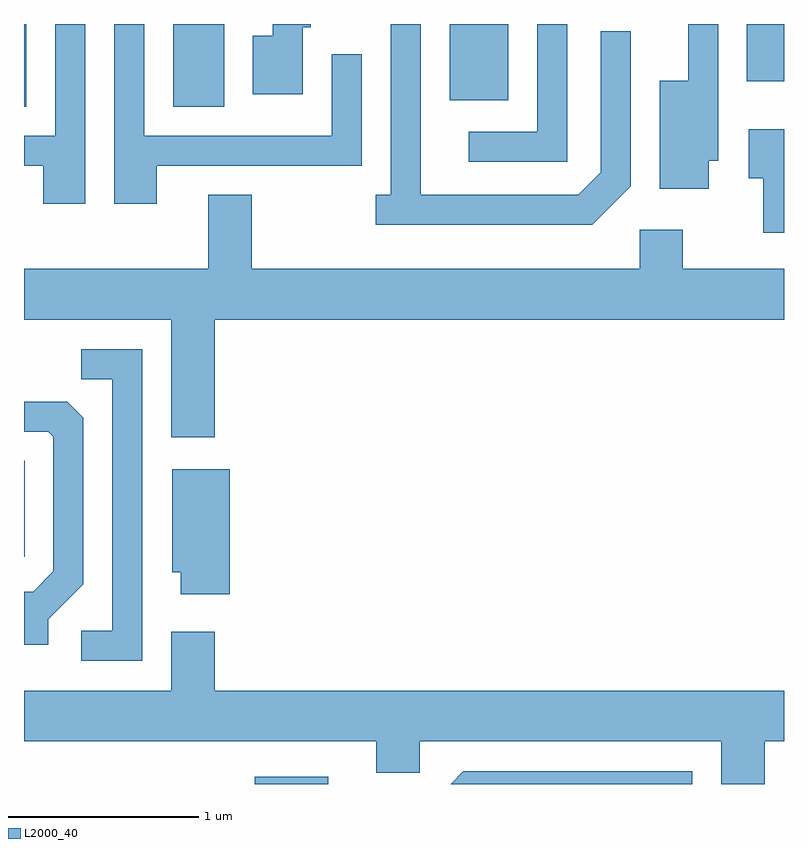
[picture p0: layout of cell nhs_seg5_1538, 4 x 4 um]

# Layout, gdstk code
import gdstk
lib = gdstk.Library(unit=1e-6, precision=1e-09)
def R(c, l, rs):  # rectangles x0, y0, x1, y1
    for r in rs: c.add(gdstk.rectangle(r[:2], r[2:], *l))
def P(c, l, *ps):  # polygons
    for p in ps: c.add(gdstk.Polygon(p, *l))
L2000_40 = (2000, 40)

nhs_seg5_1538 = lib.new_cell('nhs_seg5_1538')
R(nhs_seg5_1538, L2000_40, [(230.826,1512.072,231.213,1512.109), (229.611,1513.268,229.614,1513.774), (229.611,1515.636,229.624,1516.072), (230.396,1515.636,230.664,1516.072), (231.851,1515.671,232.159,1516.072), (233.416,1515.771,233.611,1516.072)])
P(nhs_seg5_1538, L2000_40, [(231.079,1516.056),(231.119,1516.056),(231.119,1516.072),(230.921,1516.072),(230.921,1516.009),(230.816,1516.009),(230.816,1515.701),(231.079,1515.701)],
  [(229.934,1516.072),(229.776,1516.072),(229.776,1515.484),(229.611,1515.484),(229.611,1515.326),(229.711,1515.326),(229.711,1515.126),(229.934,1515.126)],
  [(233.214,1515.351),(233.264,1515.351),(233.264,1516.072),(233.106,1516.072),(233.106,1515.774),(232.956,1515.774),(232.956,1515.206),(233.214,1515.206)],
  [(230.309,1515.326),(231.389,1515.326),(231.389,1515.913),(231.231,1515.913),(231.231,1515.484),(230.244,1515.484),(230.244,1516.072),(230.086,1516.072),(230.086,1515.126),(230.309,1515.126)],
  [(232.469,1516.072),(232.311,1516.072),(232.311,1515.504),(231.953,1515.504),(231.953,1515.346),(232.469,1515.346)],
  [(232.804,1515.219),(232.804,1516.033),(232.646,1516.033),(232.646,1515.292),(232.529,1515.174),(231.699,1515.174),(231.699,1516.072),(231.541,1516.072),(231.541,1515.174),(231.463,1515.174),(231.463,1515.016),(232.602,1515.016)],
  [(233.611,1515.519),(233.426,1515.519),(233.426,1515.261),(233.501,1515.261),(233.501,1514.973),(233.611,1514.973)],
  [(230.614,1514.516),(233.611,1514.516),(233.611,1514.784),(233.079,1514.784),(233.079,1514.989),(232.851,1514.989),(232.851,1514.784),(230.809,1514.784),(230.809,1515.174),(230.581,1515.174),(230.581,1514.784),(229.611,1514.784),(229.611,1514.516),(230.386,1514.516),(230.386,1513.896),(230.614,1513.896)],
  [(230.234,1514.359),(229.913,1514.359),(229.913,1514.201),(230.076,1514.201),(230.076,1512.879),(229.913,1512.879),(229.913,1512.721),(230.234,1512.721)],
  [(229.739,1512.939),(229.924,1513.124),(229.924,1513.999),(229.839,1514.084),(229.611,1514.084),(229.611,1513.926),(229.739,1513.926),(229.766,1513.899),(229.766,1513.192),(229.659,1513.084),(229.611,1513.084),(229.611,1512.806),(229.739,1512.806)],
  [(230.694,1513.729),(230.391,1513.729),(230.391,1513.186),(230.436,1513.186),(230.436,1513.071),(230.694,1513.071)],
  [(233.509,1512.296),(233.611,1512.296),(233.611,1512.564),(230.614,1512.564),(230.614,1512.874),(230.386,1512.874),(230.386,1512.564),(229.611,1512.564),(229.611,1512.296),(231.466,1512.296),(231.466,1512.131),(231.694,1512.131),(231.694,1512.296),(233.281,1512.296),(233.281,1512.072),(233.509,1512.072)],
  [(233.129,1512.139),(231.924,1512.139),(231.857,1512.072),(233.129,1512.072)])

lib.write_gds('nhs_seg5_1538.gds')
